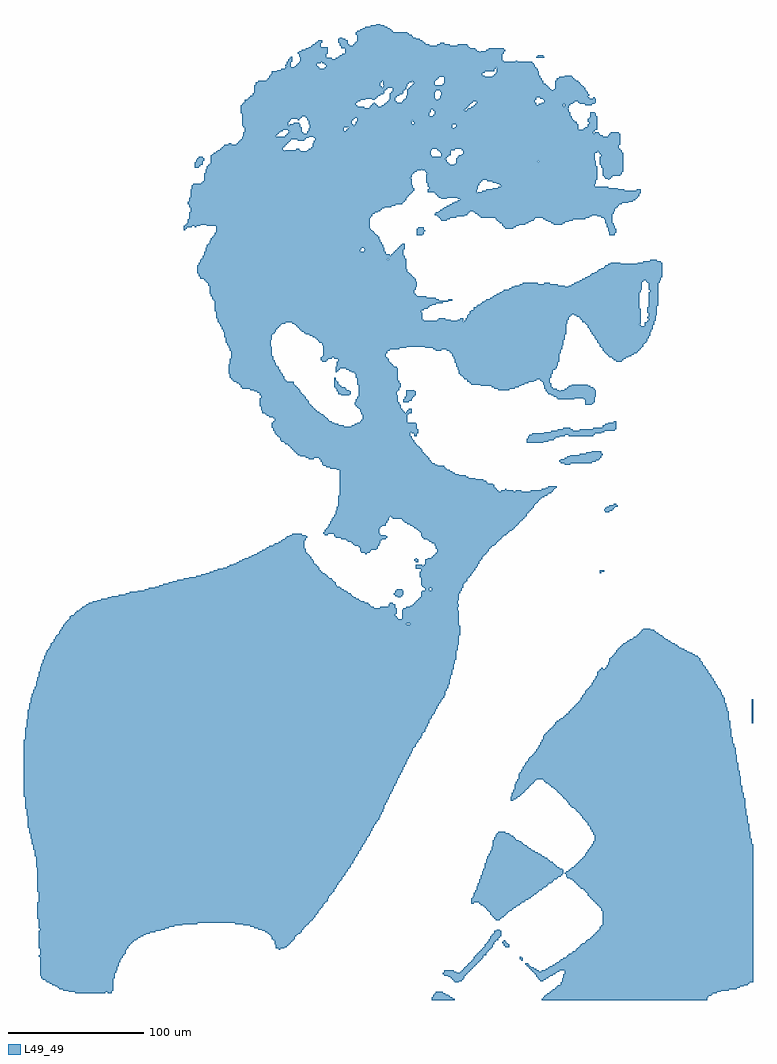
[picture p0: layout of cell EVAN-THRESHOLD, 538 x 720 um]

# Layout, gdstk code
import gdstk
lib = gdstk.Library(unit=1e-6, precision=1e-09)
def R(c, l, rs):  # rectangles x0, y0, x1, y1
    for r in rs: c.add(gdstk.rectangle(r[:2], r[2:], *l))
def A(c, l, x, y, w, h, nx, ny, dx, dy):  # array of equal rectangles
    R(c, l, [(x+i*dx, y+j*dy, x+i*dx+w, y+j*dy+h) for i in range(nx) for j in range(ny)])
L49_49 = (49, 49)

evan_threshold = lib.new_cell('EVAN-THRESHOLD')
A(evan_threshold, L49_49, 459, 13, 141, 1, 1, 3, 0, 1)
A(evan_threshold, L49_49, 460, 16, 140, 1, 1, 3, 0, 1)
A(evan_threshold, L49_49, 461, 19, 139, 1, 1, 3, 0, 1)
A(evan_threshold, L49_49, 74, 22, 57, 1, 1, 3, 0, 1)
A(evan_threshold, L49_49, 74, 25, 58, 1, 1, 3, 0, 1)
A(evan_threshold, L49_49, 74, 34, 63, 1, 1, 3, 0, 1)
A(evan_threshold, L49_49, 489, 55, 111, 1, 1, 11, 0, 1)
A(evan_threshold, L49_49, 483, 119, 115, 1, 1, 3, 0, 1)
A(evan_threshold, L49_49, 63, 141, 265, 1, 1, 3, 0, 1)
A(evan_threshold, L49_49, 64, 204, 297, 1, 1, 3, 0, 1)
A(evan_threshold, L49_49, 599, 204, 1, 1, 1, 18, 0, 1)
A(evan_threshold, L49_49, 76, 248, 304, 1, 1, 3, 0, 1)
A(evan_threshold, L49_49, 77, 251, 304, 1, 1, 3, 0, 1)
A(evan_threshold, L49_49, 341, 281, 42, 1, 1, 6, 0, 1)
A(evan_threshold, L49_49, 355, 297, 28, 1, 1, 3, 0, 1)
A(evan_threshold, L49_49, 312, 428, 33, 1, 1, 4, 0, 1)
A(evan_threshold, L49_49, 309, 446, 28, 1, 1, 3, 0, 1)
A(evan_threshold, L49_49, 344, 446, 7, 1, 1, 3, 0, 1)
A(evan_threshold, L49_49, 307, 459, 31, 1, 1, 3, 0, 1)
A(evan_threshold, L49_49, 383, 462, 69, 1, 1, 3, 0, 1)
A(evan_threshold, L49_49, 215, 475, 30, 1, 1, 4, 0, 1)
A(evan_threshold, L49_49, 204, 503, 152, 1, 1, 4, 0, 1)
A(evan_threshold, L49_49, 522, 507, 7, 1, 1, 4, 0, 1)
A(evan_threshold, L49_49, 523, 512, 7, 1, 1, 10, 0, 1)
A(evan_threshold, L49_49, 199, 521, 151, 1, 1, 3, 0, 1)
A(evan_threshold, L49_49, 523, 524, 7, 1, 1, 5, 0, 1)
A(evan_threshold, L49_49, 190, 539, 154, 1, 1, 3, 0, 1)
A(evan_threshold, L49_49, 183, 573, 134, 1, 1, 3, 0, 1)
A(evan_threshold, L49_49, 491, 573, 5, 1, 1, 3, 0, 1)
A(evan_threshold, L49_49, 359, 605, 126, 1, 1, 4, 0, 1)
A(evan_threshold, L49_49, 489, 611, 15, 1, 1, 3, 0, 1)
A(evan_threshold, L49_49, 487, 616, 17, 1, 1, 6, 0, 1)
A(evan_threshold, L49_49, 223, 645, 34, 1, 1, 3, 0, 1)
A(evan_threshold, L49_49, 272, 646, 32, 1, 1, 3, 0, 1)
A(evan_threshold, L49_49, 345, 667, 20, 1, 1, 3, 0, 1)
R(evan_threshold, L49_49, [(363,0,380,1), (444,0,566,1), (363,1,378,2), (445,1,566,2), (364,2,376,3), (446,2,567,3), (364,3,375,4), (447,3,569,4), (365,4,373,5), (448,4,570,5), (100,5,122,6), (124,5,127,6), (366,5,371,6), (450,5,573,6), (95,6,127,7), (451,6,576,7), (91,7,128,8), (452,7,582,8), (88,8,128,9), (454,8,588,9), (87,9,128,10), (455,9,590,10), (85,10,128,11), (456,10,593,11), (83,11,128,12), (458,11,596,12), (81,12,128,13), (458,12,597,13), (79,13,128,14), (380,13,383,14), (78,14,128,15), (379,14,385,15), (443,14,445,15), (76,15,128,16), (378,15,386,16), (442,15,447,16), (75,16,129,17), (377,16,387,17), (441,16,449,17), (75,17,129,18), (375,17,387,18), (440,17,450,18), (74,18,129,19), (372,18,388,19), (440,18,452,19), (74,19,129,20), (371,19,389,20), (439,19,454,20), (74,20,130,21), (372,20,381,21), (384,20,390,21), (438,20,455,21), (74,21,130,22), (372,21,379,22), (385,21,391,22), (437,21,442,22), (444,21,457,22), (386,22,392,23), (436,22,440,23), (447,22,600,23), (387,23,393,24), (435,23,438,24), (449,23,600,24), (388,24,394,25), (434,24,436,25), (450,24,600,25), (389,25,395,26), (433,25,435,26), (452,25,600,26), (390,26,396,27), (432,26,434,27), (454,26,600,27), (391,27,397,28), (455,27,600,28), (74,28,133,29), (392,28,398,29), (457,28,600,29), (74,29,133,30), (393,29,399,30), (429,29,430,30), (458,29,600,30), (74,30,134,31), (394,30,400,31), (428,30,430,31), (460,30,600,31), (74,31,135,32), (394,31,401,32), (428,31,429,32), (462,31,600,32), (73,32,135,33), (395,32,401,33), (463,32,600,33), (74,33,136,34), (396,33,403,34), (464,33,600,34), (397,34,403,35), (466,34,600,35), (398,35,404,36), (467,35,600,36), (399,36,405,37), (469,36,600,37), (74,37,138,38), (250,37,251,38), (400,37,406,38), (470,37,600,38), (73,38,139,39), (248,38,254,39), (401,38,407,39), (471,38,600,39), (73,39,139,40), (248,39,256,40), (402,39,408,40), (417,39,420,40), (472,39,600,40), (73,40,140,41), (248,40,257,41), (402,40,408,41), (416,40,420,41), (473,40,600,41), (73,41,141,42), (247,41,258,42), (403,41,409,42), (416,41,419,42), (474,41,600,42), (73,42,142,43), (247,42,259,43), (404,42,409,43), (415,42,418,43), (476,42,600,43), (73,43,143,44), (247,43,260,44), (405,43,410,44), (416,43,417,44), (477,43,600,44), (73,44,145,45), (246,44,261,45), (405,44,412,45), (478,44,600,45), (73,45,146,46), (245,45,262,46), (406,45,412,46), (480,45,600,46), (73,46,148,47), (245,46,262,47), (406,46,413,47), (481,46,600,47), (73,47,150,48), (244,47,263,48), (407,47,414,48), (482,47,600,48), (73,48,152,49), (243,48,264,49), (408,48,414,49), (483,48,600,49), (73,49,155,50), (242,49,266,50), (409,49,414,50), (484,49,600,50), (73,50,159,51), (240,50,267,51), (409,50,414,51), (485,50,600,51), (74,51,163,52), (238,51,267,52), (411,51,413,52), (486,51,600,52), (74,52,166,53), (235,52,268,53), (487,52,600,53), (73,53,169,54), (232,53,269,54), (487,53,600,54), (73,54,173,55), (229,54,270,55), (488,54,600,55), (73,55,179,56), (224,55,271,56), (73,56,190,57), (218,56,272,57), (73,57,273,58), (73,58,274,59), (73,59,275,60), (410,59,413,60), (72,60,276,61), (409,60,414,61), (72,61,277,62), (408,61,416,62), (72,62,277,63), (407,62,417,63), (72,63,278,64), (406,63,418,64), (72,64,279,65), (406,64,419,65), (72,65,279,66), (405,65,420,66), (72,66,280,67), (404,66,422,67), (488,66,600,67), (72,67,281,68), (403,67,423,68), (488,67,600,68), (72,68,282,69), (402,68,425,69), (487,68,600,69), (72,69,283,70), (401,69,426,70), (486,69,600,70), (72,70,283,71), (399,70,428,71), (485,70,600,71), (72,71,284,72), (392,71,394,72), (398,71,429,72), (484,71,600,72), (73,72,285,73), (392,72,431,73), (483,72,600,73), (73,73,286,74), (392,73,432,74), (482,73,600,74), (73,74,286,75), (392,74,434,75), (481,74,600,75), (73,75,287,76), (393,75,436,76), (480,75,600,76), (73,76,287,77), (394,76,437,77), (479,76,600,77), (73,77,288,78), (394,77,438,78), (478,77,600,78), (73,78,289,79), (394,78,440,79), (478,78,600,79), (73,79,290,80), (395,79,441,80), (477,79,600,80), (72,80,291,81), (395,80,442,81), (476,80,600,81), (72,81,291,82), (396,81,444,82), (475,81,600,82), (72,82,292,83), (396,82,445,83), (473,82,600,83), (72,83,293,84), (396,83,447,84), (472,83,600,84), (72,84,293,85), (397,84,448,85), (471,84,600,85), (72,85,294,86), (397,85,449,86), (470,85,600,86), (72,86,294,87), (398,86,451,87), (469,86,600,87), (72,87,295,88), (398,87,452,88), (468,87,600,88), (72,88,296,89), (398,88,453,89), (467,88,600,89), (72,89,297,90), (399,89,455,90), (465,89,600,90), (72,90,297,91), (399,90,456,91), (463,90,600,91), (72,91,298,92), (399,91,458,92), (462,91,600,92), (72,92,299,93), (400,92,459,93), (462,92,600,93), (72,93,299,94), (400,93,460,94), (461,93,600,94), (72,94,300,95), (400,94,460,95), (462,94,600,95), (72,95,301,96), (401,95,460,96), (464,95,600,96), (72,96,301,97), (401,96,459,97), (465,96,600,97), (72,97,302,98), (402,97,457,98), (466,97,600,98), (71,98,303,99), (402,98,455,99), (468,98,600,99), (71,99,303,100), (402,99,454,100), (469,99,600,100), (71,100,304,101), (402,100,453,101), (470,100,600,101), (71,101,305,102), (403,101,452,102), (471,101,600,102), (71,102,305,103), (403,102,450,103), (472,102,600,103), (71,103,306,104), (403,103,449,104), (473,103,600,104), (71,104,306,105), (404,104,448,105), (474,104,600,105), (71,105,307,106), (404,105,446,106), (475,105,600,106), (70,106,308,107), (405,106,444,107), (476,106,600,107), (70,107,308,108), (405,107,443,108), (476,107,600,108), (70,108,309,109), (406,108,441,109), (477,108,600,109), (70,109,309,110), (406,109,439,110), (478,109,600,110), (70,110,310,111), (407,110,437,111), (478,110,600,111), (69,111,311,112), (407,111,436,112), (479,111,600,112), (69,112,311,113), (407,112,434,113), (480,112,600,113), (69,113,312,114), (408,113,433,114), (481,113,600,114), (69,114,312,115), (408,114,431,115), (481,114,600,115), (68,115,313,116), (408,115,430,116), (482,115,599,116), (68,116,314,117), (408,116,429,117), (482,116,599,117), (68,117,314,118), (408,117,427,118), (483,117,599,118), (68,118,315,119), (409,118,425,119), (483,118,599,119), (67,119,315,120), (409,119,424,120), (67,120,316,121), (410,120,423,121), (67,121,317,122), (410,121,421,122), (67,122,317,123), (411,122,420,123), (482,122,598,123), (66,123,318,124), (412,123,417,124), (482,123,598,124), (66,124,318,125), (481,124,597,125), (66,125,319,126), (481,125,597,126), (66,126,319,127), (480,126,597,127), (65,127,320,128), (480,127,597,128), (65,128,320,129), (479,128,597,129), (65,129,321,130), (478,129,597,130), (65,130,322,131), (478,130,596,131), (65,131,322,132), (477,131,596,132), (65,132,323,133), (476,132,596,133), (65,133,324,134), (475,133,596,134), (65,134,324,135), (474,134,596,135), (65,135,325,136), (474,135,596,136), (64,136,325,137), (473,136,595,137), (64,137,326,138), (472,137,595,138), (64,138,326,139), (471,138,595,139), (64,139,327,140), (470,139,595,140), (64,140,327,141), (469,140,595,141), (468,141,594,142), (466,142,594,143), (465,143,594,144), (63,144,329,145), (464,144,594,145), (63,145,329,146), (464,145,594,146), (63,146,330,147), (463,146,594,147), (63,147,330,148), (421,147,423,148), (462,147,594,148), (63,148,331,149), (421,148,425,149), (461,148,594,149), (63,149,331,150), (421,149,426,150), (460,149,593,150), (62,150,332,151), (422,150,428,151), (459,150,593,151), (62,151,332,152), (422,151,429,152), (458,151,593,152), (62,152,333,153), (422,152,430,153), (457,152,593,153), (62,153,333,154), (423,153,431,154), (456,153,592,154), (62,154,334,155), (423,154,432,155), (455,154,592,155), (62,155,334,156), (424,155,433,156), (454,155,592,156), (62,156,335,157), (424,156,434,157), (453,156,592,157), (62,157,335,158), (424,157,435,158), (451,157,592,158), (62,158,336,159), (424,158,436,159), (450,158,591,159), (62,159,336,160), (425,159,437,160), (449,159,591,160), (62,160,337,161), (425,160,438,161), (447,160,591,161), (62,161,337,162), (426,161,439,162), (446,161,591,162), (62,162,338,163), (426,162,440,163), (445,162,591,163), (62,163,338,164), (427,163,591,164), (62,164,339,165), (427,164,591,165), (62,165,339,166), (427,165,590,166), (62,166,340,167), (427,166,590,167), (62,167,340,168), (428,167,590,168), (62,168,341,169), (429,168,590,169), (62,169,341,170), (429,169,589,170), (62,170,342,171), (430,170,589,171), (62,171,342,172), (430,171,589,172), (62,172,343,173), (431,172,589,173), (62,173,343,174), (432,173,589,174), (62,174,344,175), (432,174,589,175), (62,175,344,176), (433,175,588,176), (62,176,345,177), (434,176,588,177), (62,177,345,178), (434,177,588,178), (62,178,346,179), (435,178,588,179), (62,179,346,180), (436,179,588,180), (62,180,347,181), (437,180,588,181), (62,181,347,182), (438,181,587,182), (62,182,348,183), (439,182,587,183), (62,183,348,184), (440,183,587,184), (62,184,349,185), (440,184,587,185), (62,185,349,186), (441,185,587,186), (62,186,350,187), (442,186,586,187), (62,187,351,188), (442,187,586,188), (62,188,351,189), (443,188,586,189), (62,189,352,190), (443,189,585,190), (62,190,353,191), (444,190,585,191), (62,191,353,192), (444,191,585,192), (63,192,354,193), (445,192,585,193), (63,193,355,194), (445,193,585,194), (63,194,355,195), (445,194,584,195), (63,195,356,196), (446,195,584,196), (63,196,356,197), (447,196,584,197), (63,197,357,198), (448,197,584,198), (63,198,358,199), (449,198,584,199), (63,199,358,200), (450,199,584,200), (63,200,359,201), (451,200,583,201), (64,201,359,202), (452,201,583,202), (64,202,360,203), (453,202,583,203), (64,203,360,204), (454,203,583,204), (454,204,583,205), (455,205,583,206), (457,206,582,207), (65,207,362,208), (458,207,582,208), (65,208,363,209), (460,208,582,209), (65,209,363,210), (461,209,582,210), (65,210,364,211), (462,210,582,211), (65,211,365,212), (464,211,582,212), (65,212,365,213), (464,212,582,213), (65,213,366,214), (465,213,581,214), (66,214,366,215), (466,214,581,215), (66,215,367,216), (467,215,581,216), (66,216,367,217), (468,216,580,217), (66,217,368,218), (469,217,580,218), (66,218,368,219), (470,218,580,219), (67,219,369,220), (471,219,579,220), (67,220,370,221), (472,220,579,221), (67,221,370,222), (473,221,579,222), (67,222,371,223), (473,222,579,223), (68,223,372,224), (474,223,578,224), (68,224,372,225), (474,224,578,225), (68,225,373,226), (475,225,577,226), (69,226,373,227), (476,226,577,227), (69,227,373,228), (476,227,576,228), (69,228,374,229), (477,228,576,229), (70,229,374,230), (478,229,575,230), (70,230,375,231), (479,230,574,231), (71,231,375,232), (480,231,574,232), (71,232,375,233), (481,232,573,233), (71,233,376,234), (481,233,572,234), (71,234,376,235), (482,234,572,235), (72,235,376,236), (482,235,571,236), (72,236,376,237), (483,236,571,237), (72,237,377,238), (484,237,570,238), (73,238,377,239), (484,238,569,239), (73,239,377,240), (485,239,569,240), (73,240,378,241), (485,240,568,241), (73,241,378,242), (485,241,567,242), (74,242,378,243), (486,242,567,243), (74,243,378,244), (487,243,566,244), (74,244,379,245), (488,244,489,245), (491,244,565,245), (74,245,379,246), (492,245,565,246), (75,246,379,247), (492,246,564,247), (75,247,379,248), (493,247,563,248), (493,248,563,249), (494,249,562,250), (494,250,561,251), (494,251,561,252), (495,252,560,253), (496,253,559,254), (78,254,381,255), (497,254,557,255), (78,255,381,256), (498,255,555,256), (79,256,381,257), (499,256,553,257), (79,257,381,258), (499,257,551,258), (80,258,382,259), (500,258,549,259), (81,259,382,260), (501,259,547,260), (81,260,382,261), (502,260,545,261), (82,261,382,262), (503,261,544,262), (82,262,383,263), (504,262,542,263), (83,263,383,264), (506,263,540,264), (84,264,383,265), (507,264,539,265), (84,265,383,266), (509,265,537,266), (85,266,383,267), (511,266,535,267), (85,267,383,268), (512,267,534,268), (86,268,383,269), (514,268,533,269), (87,269,384,270), (515,269,531,270), (88,270,384,271), (516,270,530,271), (88,271,384,272), (517,271,528,272), (89,272,384,273), (518,272,527,273), (90,273,384,274), (519,273,524,274), (90,274,384,275), (91,275,384,276), (91,276,383,277), (92,277,344,278), (347,277,383,278), (93,278,383,279), (94,279,383,280), (95,280,383,281), (96,281,338,282), (96,282,337,283), (97,283,336,284), (99,284,336,285), (100,285,337,286), (101,286,337,287), (103,287,337,288), (341,287,382,288), (104,288,337,289), (342,288,382,289), (105,289,320,290), (325,289,336,290), (344,289,382,290), (107,290,318,291), (331,290,336,291), (347,290,383,291), (108,291,317,292), (331,291,336,292), (349,291,383,292), (110,292,316,293), (332,292,334,293), (350,292,382,293), (113,293,313,294), (351,293,382,294), (116,294,310,295), (352,294,382,295), (119,295,309,296), (353,295,383,296), (124,296,307,297), (354,296,383,297), (127,297,305,298), (338,297,340,298), (132,298,304,299), (336,298,341,299), (137,299,303,300), (335,299,342,300), (140,300,301,301), (336,300,342,301), (355,300,384,301), (146,301,300,302), (336,301,342,302), (356,301,384,302), (151,302,298,303), (337,302,341,303), (358,302,361,303), (363,302,385,303), (154,303,296,304), (358,303,361,304), (363,303,385,304), (159,304,295,305), (357,304,386,305), (162,305,293,306), (356,305,386,306), (165,306,292,307), (355,306,386,307), (169,307,292,308), (355,307,387,308), (172,308,291,309), (355,308,388,309), (175,309,290,310), (355,309,389,310), (180,310,289,311), (355,310,389,311), (184,311,287,312), (355,311,390,312), (189,312,286,313), (354,312,391,313), (193,313,285,314), (354,313,392,314), (196,314,284,315), (354,314,392,315), (199,315,282,316), (354,315,393,316), (487,315,488,316), (202,316,281,317), (355,316,394,317), (487,316,490,317), (205,317,280,318), (355,317,395,318), (209,318,280,319), (351,318,395,319), (212,319,279,320), (351,319,396,320), (214,320,278,321), (351,320,356,321), (357,320,397,321), (217,321,277,322), (358,321,397,322), (219,322,276,323), (358,322,398,323), (221,323,276,324), (351,323,353,324), (358,323,398,324), (223,324,275,325), (350,324,353,325), (358,324,399,325), (225,325,274,326), (351,325,352,326), (360,325,400,326), (228,326,274,327), (363,326,400,327), (230,327,273,328), (364,327,401,328), (232,328,272,329), (365,328,402,329), (234,329,271,330), (314,329,315,330), (366,329,403,330), (236,330,270,331), (311,330,317,331), (367,330,404,331), (238,331,270,332), (310,331,318,332), (367,331,405,332), (240,332,270,333), (310,332,322,333), (367,332,405,333), (241,333,269,334), (310,333,323,334), (366,333,406,334), (243,334,269,335), (309,334,323,335), (366,334,407,335), (246,335,269,336), (306,335,324,336), (365,335,409,336), (247,336,269,337), (305,336,324,337), (365,336,410,337), (250,337,269,338), (304,337,325,338), (363,337,411,338), (252,338,269,339), (301,338,325,339), (361,338,412,339), (253,339,270,340), (300,339,326,340), (360,339,413,340), (255,340,270,341), (296,340,329,341), (357,340,414,341), (256,341,271,342), (292,341,330,342), (356,341,415,342), (258,342,270,343), (291,342,329,343), (355,342,416,343), (260,343,267,344), (284,343,286,344), (291,343,325,344), (355,343,418,344), (283,344,324,345), (355,344,419,345), (284,345,324,346), (354,345,420,346), (284,346,324,347), (353,346,422,347), (285,347,324,348), (352,347,423,348), (286,348,325,349), (350,348,424,349), (287,349,326,350), (349,349,425,350), (287,350,329,351), (347,350,426,351), (288,351,329,352), (345,351,427,352), (288,352,330,353), (343,352,428,353), (289,353,330,354), (342,353,429,354), (289,354,331,355), (341,354,430,355), (290,355,331,356), (334,355,431,356), (291,356,332,357), (333,356,432,357), (291,357,433,358), (292,358,433,359), (292,359,434,360), (292,360,435,361), (491,360,494,361), (293,361,436,362), (490,361,496,362), (293,362,437,363), (491,362,497,363), (293,363,438,364), (492,363,498,364), (294,364,438,365), (494,364,500,365), (294,365,439,366), (497,365,499,366), (294,366,440,367), (294,367,441,368), (294,368,442,369), (294,369,443,370), (294,370,444,371), (294,371,446,372), (295,372,448,373), (295,373,449,374), (295,374,451,375), (295,375,412,376), (414,375,423,376), (425,375,429,376), (436,375,452,376), (295,376,411,377), (417,376,418,377), (444,376,453,377), (295,377,410,378), (447,377,454,378), (295,378,409,379), (449,378,455,379), (295,379,409,380), (295,380,408,381), (295,381,404,382), (295,382,403,383), (295,383,401,384), (295,384,395,385), (295,385,390,386), (295,386,388,387), (295,387,383,388), (295,388,380,389), (295,389,378,390), (295,390,376,391), (293,391,374,392), (288,392,373,393), (285,393,372,394), (283,394,367,395), (282,395,365,396), (461,395,465,396), (282,396,363,397), (458,396,481,397), (281,397,362,398), (457,397,484,398), (281,398,361,399), (458,398,486,399), (272,399,276,400), (280,399,361,400), (461,399,487,400), (270,400,360,401), (463,400,488,401), (266,401,359,402), (465,401,488,402), (264,402,358,403), (472,402,489,403), (263,403,357,404), (477,403,488,404), (262,404,356,405), (481,404,488,405), (261,405,356,406), (260,406,355,407), (259,407,354,408), (258,408,353,409), (257,409,352,410), (255,410,351,411), (254,411,350,412), (433,411,445,412), (252,412,350,413), (433,412,449,413), (251,413,349,414), (433,413,453,414), (251,414,348,415), (434,414,454,415), (250,415,348,416), (434,415,457,416), (249,416,347,417), (350,416,352,417), (435,416,461,417), (464,416,482,417), (248,417,347,418), (350,417,352,418), (437,417,483,418), (247,418,347,419), (348,418,353,419), (446,418,488,419), (247,419,353,420), (451,419,490,420), (246,420,353,421), (456,420,467,421), (472,420,498,421), (246,421,352,422), (460,421,465,422), (482,421,499,422), (245,422,352,423), (489,422,499,423), (245,423,298,424), (304,423,352,424), (489,423,499,424), (245,424,294,425), (306,424,352,425), (491,424,499,425), (245,425,291,426), (308,425,351,426), (493,425,499,426), (246,426,289,427), (310,426,345,427), (497,426,499,427), (247,427,287,428), (311,427,345,428), (247,428,286,429), (246,429,285,430), (243,430,284,431), (241,431,283,432), (240,432,281,433), (311,432,346,433), (238,433,280,434), (311,433,343,434), (344,433,348,434), (238,434,278,435), (310,434,342,435), (345,434,348,435), (237,435,277,436), (310,435,341,436), (346,435,348,436), (237,436,276,437), (309,436,340,437), (237,437,275,438), (308,437,340,438), (236,438,274,439), (307,438,340,439), (236,439,273,440), (306,439,339,440), (476,439,481,440), (236,440,272,441), (306,440,339,441), (476,440,482,441), (236,441,272,442), (307,441,338,442), (342,441,346,442), (476,441,483,442), (236,442,271,443), (307,442,338,443), (342,442,348,443), (476,442,483,443), (236,443,270,444), (308,443,338,444), (343,443,348,444), (456,443,468,444), (475,443,483,444), (237,444,270,445), (308,444,338,445), (343,444,349,445), (455,444,483,445), (237,445,269,446), (309,445,338,446), (344,445,350,446), (453,445,484,446), (236,446,268,447), (296,446,302,447), (451,446,484,447), (236,447,267,448), (294,447,303,448), (449,447,484,448), (234,448,266,449), (294,448,303,449), (448,448,484,449), (232,449,266,450), (293,449,302,450), (309,449,338,450), (344,449,350,450), (447,449,457,450), (458,449,484,450), (229,450,265,451), (293,450,300,451), (309,450,339,451), (412,450,420,451), (447,450,455,451), (461,450,483,451), (223,451,264,452), (292,451,299,452), (309,451,339,452), (409,451,424,452), (446,451,452,452), (463,451,482,452), (222,452,263,453), (291,452,296,453), (309,452,340,453), (407,452,427,453), (446,452,451,453), (464,452,480,453), (222,453,262,454), (291,453,295,454), (309,453,340,454), (399,453,429,454), (446,453,451,454), (466,453,478,454), (221,454,261,455), (291,454,294,455), (308,454,340,455), (392,454,431,455), (445,454,451,455), (219,455,261,456), (291,455,294,456), (308,455,339,456), (391,455,434,456), (445,455,450,456), (217,456,256,457), (291,456,293,457), (308,456,339,457), (389,456,438,457), (444,456,450,457), (216,457,255,458), (291,457,292,458), (308,457,338,458), (389,457,440,458), (443,457,450,458), (215,458,254,459), (291,458,292,459), (308,458,338,459), (387,458,450,459), (214,459,254,460), (386,459,451,460), (214,460,253,461), (385,460,451,461), (214,461,253,462), (384,461,451,462), (213,462,252,463), (306,462,338,463), (213,463,251,464), (292,463,293,464), (304,463,338,464), (213,464,251,465), (292,464,294,465), (302,464,338,465), (213,465,250,466), (292,465,295,466), (300,465,338,466), (382,465,454,466), (213,466,250,467), (292,466,337,467), (382,466,455,467), (213,467,249,468), (293,467,335,468), (381,467,455,468), (213,468,248,469), (293,468,334,469), (381,468,456,469), (214,469,248,470), (293,469,333,470), (381,469,456,470), (214,470,247,471), (293,470,332,471), (380,470,456,471), (214,471,247,472), (282,471,285,472), (294,471,331,472), (380,471,457,472), (499,471,503,472), (214,472,246,473), (281,472,286,473), (294,472,331,473), (380,472,457,473), (497,472,504,473), (215,473,246,474), (281,473,289,474), (291,473,330,474), (379,473,457,474), (496,473,506,474), (215,474,246,475), (282,474,329,475), (379,474,457,475), (494,474,508,475), (283,475,329,476), (378,475,457,476), (493,475,510,476), (283,476,329,477), (378,476,457,477), (492,476,512,477), (283,477,330,478), (377,477,458,478), (491,477,514,478), (283,478,330,479), (376,478,458,479), (490,478,515,479), (214,479,245,480), (283,479,332,480), (366,479,370,480), (374,479,458,480), (489,479,516,480), (214,480,245,481), (283,480,339,481), (364,480,459,481), (489,480,517,481), (213,481,245,482), (283,481,344,482), (358,481,459,482), (488,481,518,482), (213,482,244,483), (283,482,459,483), (487,482,519,483), (212,483,244,484), (282,483,460,484), (487,483,519,484), (212,484,244,485), (282,484,460,485), (486,484,520,485), (211,485,244,486), (280,485,460,486), (485,485,521,486), (211,486,244,487), (279,486,460,487), (485,486,522,487), (211,487,245,488), (278,487,461,488), (484,487,522,488), (211,488,245,489), (277,488,461,489), (483,488,523,489), (210,489,245,490), (275,489,461,490), (483,489,523,490), (210,490,245,491), (273,490,461,491), (482,490,524,491), (210,491,246,492), (270,491,462,492), (481,491,524,492), (210,492,247,493), (269,492,462,493), (481,492,524,493), (209,493,248,494), (267,493,462,494), (480,493,525,494), (209,494,248,495), (266,494,462,495), (480,494,525,495), (208,495,249,496), (265,495,462,496), (479,495,526,496), (208,496,250,497), (264,496,462,497), (478,496,526,497), (207,497,251,498), (263,497,462,498), (478,497,517,498), (520,497,526,498), (207,498,252,499), (262,498,462,499), (477,498,516,499), (520,498,527,499), (206,499,255,500), (260,499,463,500), (476,499,517,500), (520,499,527,500), (205,500,386,501), (387,500,463,501), (474,500,517,501), (522,500,527,501), (205,501,357,502), (367,501,377,502), (382,501,386,502), (388,501,463,502), (474,501,517,502), (523,501,528,502), (205,502,356,503), (368,502,373,503), (384,502,386,503), (388,502,464,503), (473,502,517,503), (523,502,528,503), (389,503,464,504), (472,503,517,504), (522,503,528,504), (389,504,465,505), (470,504,517,505), (523,504,528,505), (390,505,466,506), (468,505,517,506), (523,505,529,506), (391,506,517,507), (523,506,529,507), (204,507,355,508), (391,507,517,508), (203,508,355,509), (392,508,517,509), (203,509,357,510), (394,509,517,510), (203,510,360,511), (394,510,516,511), (203,511,361,512), (396,511,516,512), (523,511,529,512), (203,512,363,513), (397,512,516,513), (203,513,366,514), (399,513,516,514), (203,514,371,515), (400,514,516,515), (203,515,375,516), (402,515,516,516), (202,516,368,517), (375,516,378,517), (403,516,516,517), (201,517,366,518), (406,517,516,518), (201,518,359,519), (408,518,516,519), (200,519,352,520), (409,519,516,520), (200,520,351,521), (411,520,516,521), (413,521,516,522), (415,522,517,523), (524,522,530,523), (416,523,517,524), (524,523,530,524), (199,524,351,525), (420,524,518,525), (199,525,351,526), (422,525,518,526), (199,526,352,527), (424,526,461,527), (464,526,518,527), (198,527,352,528), (428,527,456,528), (466,527,518,528), (198,528,352,529), (430,528,441,529), (446,528,450,529), (468,528,518,529), (197,529,352,530), (470,529,518,530), (522,529,531,530), (196,530,351,531), (472,530,519,531), (521,530,531,531), (195,531,351,532), (474,531,532,532), (192,532,350,533), (476,532,532,533), (192,533,349,534), (478,533,533,534), (191,534,348,535), (480,534,533,535), (191,535,347,536), (481,535,533,536), (190,536,346,537), (483,536,533,537), (190,537,345,538), (485,537,533,538), (190,538,345,539), (486,538,533,539), (488,539,533,540), (490,540,533,541), (491,541,533,542), (191,542,344,543), (493,542,533,543), (191,543,344,544), (495,543,502,544), (515,543,533,544), (192,544,344,545), (519,544,532,545), (192,545,344,546), (524,545,529,546), (193,546,330,547), (331,546,344,547), (194,547,343,548), (194,548,343,549), (195,549,332,550), (333,549,342,550), (195,550,329,551), (334,550,342,551), (195,551,329,552), (335,551,342,552), (196,552,310,553), (313,552,328,553), (336,552,342,553), (196,553,310,554), (314,553,328,554), (337,553,342,554), (196,554,311,555), (313,554,328,555), (338,554,343,555), (197,555,327,556), (339,555,343,556), (197,556,327,557), (340,556,343,557), (198,557,326,558), (341,557,343,558), (199,558,326,559), (199,559,325,560), (200,560,325,561), (200,561,324,562), (201,562,324,563), (202,563,323,564), (203,564,322,565), (352,564,356,565), (494,564,498,565), (203,565,321,566), (352,565,357,566), (494,565,498,566), (204,566,320,567), (352,566,357,567), (494,566,499,567), (204,567,319,568), (352,567,358,568), (493,567,499,568), (180,568,181,569), (204,568,318,569), (352,568,357,569), (493,568,499,569), (180,569,182,570), (204,569,317,570), (353,569,357,570), (417,569,423,570), (493,569,498,570), (180,570,186,571), (188,570,189,571), (204,570,317,571), (416,570,425,571), (492,570,498,571), (181,571,192,572), (197,571,317,572), (415,571,427,572), (492,571,497,572), (182,572,317,573), (415,572,432,573), (453,572,459,573), (492,572,497,573), (413,573,434,574), (451,573,461,574), (412,574,436,575), (449,574,464,575), (370,575,374,576), (411,575,438,576), (447,575,467,576), (184,576,317,577), (369,576,376,577), (410,576,439,577), (445,576,476,577), (490,576,496,577), (184,577,318,578), (368,577,381,578), (399,577,479,578), (488,577,496,578), (184,578,319,579), (367,578,387,579), (398,578,481,579), (485,578,496,579), (184,579,319,580), (365,579,389,580), (397,579,496,580), (184,580,321,581), (366,580,390,581), (395,580,497,581), (185,581,323,582), (368,581,391,582), (394,581,497,582), (185,582,325,583), (369,582,498,583), (185,583,326,584), (371,583,498,584), (185,584,328,585), (372,584,499,585), (184,585,333,586), (374,585,500,586), (184,586,336,587), (376,586,501,587), (183,587,341,588), (378,587,503,588), (183,588,342,589), (380,588,508,589), (184,589,343,590), (382,589,511,590), (184,590,344,591), (384,590,513,591), (184,591,344,592), (370,591,374,592), (382,591,514,592), (185,592,345,593), (368,592,515,593), (185,593,346,594), (367,593,516,594), (185,594,347,595), (366,594,516,595), (185,595,348,596), (365,595,396,596), (397,595,517,596), (185,596,349,597), (360,596,396,597), (400,596,517,597), (185,597,350,598), (360,597,396,598), (403,597,505,598), (514,597,517,598), (186,598,350,599), (361,598,397,599), (408,598,500,599), (186,599,349,600), (361,599,397,600), (412,599,493,600), (186,600,349,601), (360,600,397,601), (414,600,483,601), (187,601,348,602), (360,601,398,602), (413,601,483,602), (193,602,348,603), (360,602,398,603), (411,602,484,603), (194,603,348,604), (359,603,399,604), (408,603,484,604), (195,604,348,605), (359,604,400,605), (404,604,484,605), (195,605,348,606), (493,605,494,606), (195,606,347,607), (491,606,495,607), (195,607,348,608), (490,607,496,608), (195,608,348,609), (489,608,502,609), (195,609,349,610), (360,609,485,610), (489,609,503,610), (196,610,350,611), (359,610,485,611), (489,610,503,611), (196,611,352,612), (358,611,485,612), (196,612,355,613), (356,612,485,613), (197,613,485,614), (188,614,191,615), (197,614,485,615), (488,614,504,615), (188,615,192,616), (198,615,484,616), (488,615,504,616), (188,616,194,617), (199,616,376,617), (380,616,484,617), (188,617,194,618), (200,617,375,618), (381,617,484,618), (189,618,194,619), (200,618,374,619), (381,618,441,619), (442,618,484,619), (189,619,195,620), (200,619,374,620), (381,619,483,620), (190,620,195,621), (200,620,373,621), (381,620,483,621), (191,621,194,622), (200,621,374,622), (382,621,483,622), (200,622,363,623), (370,622,375,623), (383,622,483,623), (488,622,504,623), (201,623,362,624), (370,623,377,624), (385,623,483,624), (488,623,504,624), (202,624,362,625), (370,624,377,625), (386,624,483,625), (487,624,504,625), (204,625,362,626), (369,625,377,626), (386,625,485,626), (486,625,503,626), (205,626,254,627), (255,626,266,627), (271,626,362,627), (368,626,377,627), (386,626,503,627), (207,627,253,628), (263,627,265,628), (272,627,363,628), (367,627,380,628), (385,627,502,628), (208,628,253,629), (274,628,501,629), (209,629,254,630), (275,629,501,630), (210,630,255,631), (275,630,501,631), (213,631,215,632), (219,631,256,632), (275,631,502,632), (220,632,257,633), (276,632,502,633), (221,633,258,634), (276,633,502,634), (222,634,259,635), (264,634,269,635), (277,634,502,635), (223,635,270,636), (277,635,502,636), (223,636,272,637), (276,636,502,637), (224,637,248,638), (255,637,489,638), (493,637,502,638), (224,638,249,639), (256,638,487,639), (494,638,502,639), (224,639,250,640), (257,639,268,640), (271,639,482,640), (483,639,486,640), (495,639,501,640), (225,640,251,641), (258,640,267,641), (271,640,482,641), (225,641,253,642), (257,641,267,642), (272,641,298,642), (300,641,483,642), (225,642,267,643), (272,642,298,643), (301,642,471,643), (475,642,485,643), (225,643,267,644), (273,643,298,644), (302,643,378,644), (380,643,471,644), (476,643,485,644), (224,644,266,645), (273,644,378,645), (381,644,471,645), (478,644,485,645), (258,645,266,646), (273,645,305,646), (306,645,378,646), (381,645,471,646), (478,645,485,646), (261,646,265,647), (307,646,348,647), (350,646,470,647), (479,646,485,647), (307,647,348,648), (350,647,470,648), (479,647,485,648), (223,648,258,649), (308,648,348,649), (349,648,468,649), (478,648,485,649), (223,649,259,650), (264,649,265,650), (271,649,305,650), (308,649,467,650), (478,649,485,650), (223,650,266,651), (271,650,306,651), (308,650,466,651), (479,650,485,651), (223,651,267,652), (270,651,466,652), (480,651,485,652), (223,652,361,653), (364,652,465,653), (480,652,484,653), (223,653,361,654), (365,653,465,654), (480,653,484,654), (222,654,361,655), (365,654,465,655), (480,654,483,655), (222,655,362,656), (365,655,464,656), (222,656,362,657), (364,656,387,657), (389,656,464,657), (222,657,388,658), (390,657,463,658), (222,658,313,659), (317,658,389,659), (392,658,464,659), (222,659,308,660), (318,659,323,660), (326,659,390,660), (394,659,460,660), (461,659,464,660), (223,660,307,661), (319,660,322,661), (328,660,391,661), (395,660,440,661), (442,660,460,661), (461,660,465,661), (476,660,481,661), (224,661,307,662), (320,661,321,662), (329,661,392,662), (396,661,440,662), (444,661,467,662), (472,661,483,662), (225,662,308,663), (330,662,337,663), (341,662,393,663), (396,662,439,663), (446,662,468,663), (471,662,484,663), (225,663,310,664), (331,663,336,664), (342,663,439,664), (446,663,484,664), (227,664,314,665), (319,664,321,665), (332,664,336,665), (343,664,366,665), (368,664,440,665), (445,664,484,665), (228,665,322,666), (332,665,336,666), (344,665,365,666), (369,665,440,666), (443,665,479,666), (482,665,483,666), (229,666,323,667), (332,666,337,667), (344,666,365,667), (369,666,478,667), (231,667,325,668), (332,667,339,668), (370,667,479,668), (231,668,327,669), (332,668,341,669), (370,668,478,669), (232,669,328,670), (333,669,342,670), (370,669,478,670), (232,670,328,671), (334,670,342,671), (345,670,366,671), (369,670,477,671), (232,671,329,672), (334,671,343,672), (345,671,451,672), (453,671,476,672), (232,672,330,673), (334,672,344,673), (346,672,450,673), (454,672,476,673), (232,673,326,674), (327,673,344,674), (347,673,449,674), (454,673,475,674), (232,674,325,675), (328,674,345,675), (348,674,448,675), (454,674,474,675), (233,675,325,676), (327,675,345,676), (349,675,365,676), (371,675,447,676), (454,675,473,676), (233,676,325,677), (327,676,346,677), (350,676,365,677), (372,676,445,677), (454,676,472,677), (235,677,326,678), (327,677,348,678), (349,677,365,678), (372,677,445,678), (454,677,471,678), (241,678,366,679), (372,678,444,679), (455,678,469,679), (242,679,367,680), (372,679,444,680), (455,679,468,680), (243,680,368,681), (372,680,443,681), (457,680,467,681), (243,681,402,682), (408,681,443,682), (461,681,466,682), (244,682,400,683), (409,682,442,683), (245,683,400,684), (410,683,442,684), (245,684,402,685), (411,684,442,685), (249,685,409,686), (411,685,441,686), (252,686,409,687), (411,686,441,687), (255,687,280,688), (284,687,410,688), (411,687,440,688), (256,688,259,689), (262,688,279,689), (285,688,439,689), (255,689,259,690), (263,689,278,690), (285,689,439,690), (256,690,259,691), (264,690,278,691), (284,690,438,691), (256,691,259,692), (265,691,281,692), (282,691,437,692), (257,692,260,693), (266,692,416,693), (425,692,426,693), (257,693,260,694), (266,693,415,694), (258,694,260,695), (266,694,289,695), (292,694,415,695), (259,695,260,696), (266,695,285,696), (294,695,415,696), (440,695,446,696), (265,696,285,697), (295,696,415,697), (441,696,445,697), (265,697,285,698), (297,697,415,698), (264,698,286,699), (299,698,416,699), (265,699,286,700), (299,699,398,700), (399,699,416,700), (267,700,286,701), (299,700,396,701), (403,700,417,701), (270,701,286,702), (299,701,395,702), (405,701,416,702), (272,702,286,703), (296,702,391,703), (274,703,281,704), (296,703,390,704), (275,704,281,705), (295,704,302,705), (305,704,361,705), (367,704,376,705), (382,704,389,705), (277,705,281,706), (295,705,301,706), (306,705,358,706), (369,705,372,706), (278,706,282,707), (294,706,301,707), (307,706,357,707), (279,707,282,708), (294,707,301,708), (308,707,356,708), (294,708,299,709), (308,708,354,709), (295,709,297,710), (308,709,351,710), (308,710,349,711), (308,711,348,712), (307,712,346,713), (307,713,345,714), (308,714,334,715), (310,715,333,716), (312,716,332,717), (314,717,330,718), (318,718,328,719), (322,719,325,720)])

lib.write_gds('EVAN-THRESHOLD.gds')
